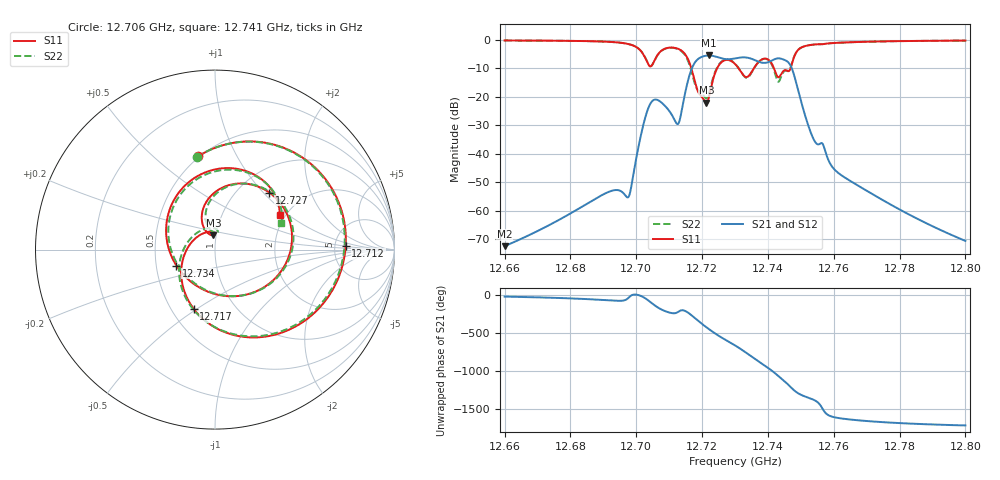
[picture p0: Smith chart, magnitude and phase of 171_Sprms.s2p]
! TOUCHSTONE file generated by CST MICROWAVE STUDIO
! Date and time: Wed Jul 31 19:31:05 2024
! Project name: WaveGuide_BPF-Ver4.1_U-shape_Ku_T3_C4_CWA_2.cst
! Parameters = {cavity_h=16; cavity_l0=10; cavity_l1=15.1872; cavity_l2=16.8588; cavity_l3=17.1282; cavity_l4=17.2782; cavity_l5=17.119; cavity_l6=17.5731; cavity_r=2.5; cavity_screw_l=0.5; cavity_screw_r=1.5; cavity_w=8; iris_h00=0; iris_h01=8.8082; iris_h112=0; iris_h12=5.5989; iris_h211=3.654; ir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
! Header version: 2018
! Port assignment regex: !\s*Touchstone port\s*([0-9]+)\s*=\s*(CST MWS port|CST DS port)\s*([0-9]+|Zmin|Zmax)\s*\(\"(.*)\"\)(\s*mode\s*([0-9]+))?.*
! Touchstone port assignment:
! Touchstone port 1 = CST MWS port 1 ("")
! Touchstone port 2 = CST MWS port 2 ("")
# GHz S RI R 50
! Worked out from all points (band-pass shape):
!   5001 points, 12.66 GHz to 12.8 GHz, reference 50 ohm
!   highest |S21| = -5.43 dB at 12.722 GHz (marker M1); lowest = -72.5 dB at 12.66 GHz (marker M2)
!   |S21| within 3 dB of the highest: 12.71753 GHz to 12.7466 GHz (29.07 MHz wide, 0.228 % of centre)
!   lowest |S11| = -22.0 dB at 12.721 GHz (marker M3), VSWR 1.17, Z = 48.6 + j7.7 ohm
!   |S11| at or under -10 dB: 12.71674 GHz to 12.72454 GHz (7.8 MHz wide, 0.0613 % of centre); 12.73112 GHz to 12.73569 GHz (4.57 MHz wide, 0.0359 % of centre); 12.74186 GHz to 12.74686 GHz (4.995 MHz wide, 0.0392 % of centre)
!   |S22| runs from -20.5 to -0.1 dB; largest |S21 - S12| = 1e-09
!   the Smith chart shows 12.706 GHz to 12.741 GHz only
!   S11 on the Smith chart (normalised r, x): 12.706 GHz: 0.49, +0.71; 12.712 GHz: 6.31, +0.54; 12.717 GHz: 0.64, -0.48; 12.727 GHz: 1.37, +1.08; 12.734 GHz: 0.64, -0.12; 12.741 GHz: 1.86, +0.87
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12.66  0.251 0.9503  0.000226 -7.72e-05  0.000226 -7.72e-05  0.2541 0.9496
12.68335  0.6522 0.7058  0.000772 -0.000869  0.000772 -0.000869  0.6537 0.7046
12.69758  0.8493 -0.0599  0.00137 -0.00106  0.00137 -0.00106  0.8498 -0.0606
12.70186  0.2765 -0.5248  0.026 -0.00922  0.026 -0.00922  0.2801 -0.5267
12.7043  -0.3344 -0.0801  -0.00115 -0.0763  -0.00115 -0.0763  -0.3347 -0.0903
12.70631  -0.0921 0.5209  -0.0812 -0.0369  -0.0812 -0.0369  -0.1009 0.516
12.70668  0.0024 0.5679  -0.0846 -0.022  -0.0846 -0.022  -0.00635 0.5645
12.71172  0.728 0.0201  -0.0204 0.0328  -0.0204 0.0328  0.7207 0.00927
12.7165  -0.119 -0.3295  -0.0713 0.2669  -0.0713 0.2669  -0.1598 -0.2751
12.72132  -0.00854 0.0787  0.2386 -0.4751  0.2386 -0.4751  0.00331 0.0942
12.72208  -0.0392 0.0914  0.0245 -0.5346  0.0245 -0.5346  -0.0269 0.1115
12.72678  0.3023 0.3179  -0.3539 0.3014  -0.3539 0.3014  0.3228 0.3099
12.73  0.3531 -0.1404  0.2488 0.4046  0.2488 0.4046  0.3581 -0.1426
12.73412  -0.2151 -0.0886  0.238 -0.4226  0.238 -0.4226  -0.2105 -0.0794
12.73753  -0.0634 0.4263  -0.3952 -0.106  -0.3952 -0.106  -0.026 0.4282
12.74086  0.3598 0.1948  -0.0428 0.4242  -0.0428 0.4242  0.3688 0.1485
12.74341  0.1974 0.1052  0.4732 0.0512  0.4732 0.0512  0.1652 0.0921
12.7456  0.2618 0.1312  0.1081 -0.4171  0.1081 -0.4171  0.252 0.1439
12.75335  0.6535 -0.5031  0.00663 0.0201  0.00663 0.0201  0.6528 -0.5048
12.76144  -0.0908 -0.8912  -0.00458 -9.48e-05  -0.00458 -9.48e-05  -0.0926 -0.8911
12.77668  -0.8423 -0.4411  -0.000717 0.00114  -0.000717 0.00114  -0.8435 -0.4387
12.8  -0.9637 0.165  3.33e-05 0.000293  3.33e-05 0.000293  -0.963 0.169
